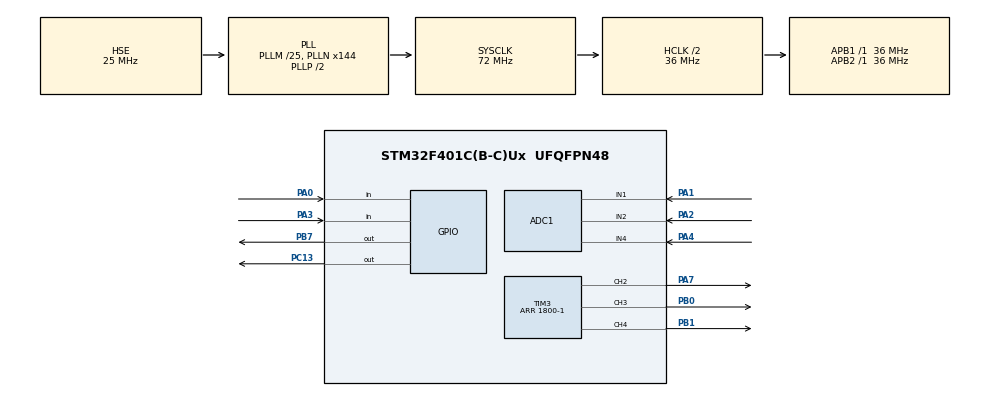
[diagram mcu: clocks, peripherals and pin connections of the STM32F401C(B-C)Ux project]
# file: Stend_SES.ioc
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ADC1.Channel-0\#ChannelRegularConversion=ADC_CHANNEL_1
ADC1.Channel-5\#ChannelInjectedConversion=ADC_CHANNEL_2
ADC1.Channel-6\#ChannelInjectedConversion=ADC_CHANNEL_4
ADC1.ContinuousConvMode=ENABLE
ADC1.DMAContinuousRequests=DISABLE
ADC1.InjNumberOfConversion=2
ADC1.InjectedOffset-5\#ChannelInjectedConversion=0
ADC1.InjectedOffset-6\#ChannelInjectedConversion=0
ADC1.InjectedRank-5\#ChannelInjectedConversion=1
ADC1.InjectedRank-6\#ChannelInjectedConversion=2
ADC1.NbrOfConversion=1
ADC1.NbrOfConversionFlag=1
ADC1.Rank-0\#ChannelRegularConversion=1
ADC1.SamplingTime-0\#ChannelRegularConversion=ADC_SAMPLETIME_112CYCLES
ADC1.SamplingTime-5\#ChannelInjectedConversion=ADC_SAMPLETIME_3CYCLES
ADC1.SamplingTime-6\#ChannelInjectedConversion=ADC_SAMPLETIME_3CYCLES
ADC1.ScanConvMode=ENABLE
ADC1.master=1
Mcu.Family=STM32F4
Mcu.Name=STM32F401C(B-C)Ux
Mcu.Package=UFQFPN48
NVIC.PriorityGroup=NVIC_PRIORITYGROUP_4
NVIC.TIM2_IRQn=true\:0\:0\:false\:false\:true\:true\:true
NVIC.TIM3_IRQn=true\:0\:0\:false\:false\:true\:true\:true
NVIC.TIM4_IRQn=true\:0\:0\:false\:false\:true\:true\:true
PA0-WKUP.GPIO_PuPd=GPIO_PULLUP
PA0-WKUP.Signal=GPIO_Input
PA1.Signal=ADCx_IN1
PA2.Signal=ADCx_IN2
PA3.GPIO_PuPd=GPIO_PULLUP
PA3.Signal=GPIO_Input
PA4.Signal=ADCx_IN4
PA7.Signal=S_TIM3_CH2
PB0.Signal=S_TIM3_CH3
PB1.Signal=S_TIM3_CH4
PB7.GPIO_PuPd=GPIO_PULLDOWN
PB7.Signal=GPIO_Output
PC13-ANTI_TAMP.Signal=GPIO_Output
PH0\ -\ OSC_IN.Mode=HSE-External-Oscillator
PH0\ -\ OSC_IN.Signal=RCC_OSC_IN
PH1\ -\ OSC_OUT.Mode=HSE-External-Oscillator
PH1\ -\ OSC_OUT.Signal=RCC_OSC_OUT
ProjectManager.HeapSize=0x200
ProjectManager.StackSize=0x400
ProjectManager.TargetToolchain=STM32CubeIDE
RCC.48MHZClocksFreq_Value=36000000
RCC.AHBCLKDivider=RCC_SYSCLK_DIV2
RCC.AHBFreq_Value=36000000
RCC.APB1Freq_Value=36000000
RCC.APB1TimFreq_Value=36000000
RCC.APB2Freq_Value=36000000
RCC.APB2TimFreq_Value=36000000
RCC.CortexFreq_Value=36000000
RCC.HCLKFreq_Value=36000000
RCC.HSE_VALUE=25000000
RCC.HSI_VALUE=16000000
RCC.LSE_VALUE=32768
RCC.PLLM=25
RCC.PLLN=144
RCC.PLLSourceVirtual=RCC_PLLSOURCE_HSE
RCC.SYSCLKFreq_VALUE=72000000
RCC.SYSCLKSource=RCC_SYSCLKSOURCE_PLLCLK
RCC.VCOOutputFreq_Value=144000000
SH.ADCx_IN1.0=ADC1_IN1,IN1
SH.ADCx_IN2.0=ADC1_IN2,IN2
SH.ADCx_IN4.0=ADC1_IN4,IN4
SH.S_TIM3_CH2.0=TIM3_CH2,PWM Generation2 CH2
SH.S_TIM3_CH3.0=TIM3_CH3,PWM Generation3 CH3
SH.S_TIM3_CH4.0=TIM3_CH4,PWM Generation4 CH4
TIM2.AutoReloadPreload=TIM_AUTORELOAD_PRELOAD_ENABLE
TIM2.Channel-Output\ Compare1\ No\ Output=TIM_CHANNEL_1
TIM2.Period=60000-1
TIM2.Prescaler=600-1
TIM2.Pulse-Output\ Compare1\ No\ Output=30000
TIM3.AutoReloadPreload=TIM_AUTORELOAD_PRELOAD_ENABLE
TIM3.Channel-PWM\ Generation2\ CH2=TIM_CHANNEL_2
TIM3.Channel-PWM\ Generation3\ CH3=TIM_CHANNEL_3
TIM3.Channel-PWM\ Generation4\ CH4=TIM_CHANNEL_4
TIM3.OCMode_PWM-PWM\ Generation3\ CH3=TIM_OCMODE_PWM2
TIM3.OCMode_PWM-PWM\ Generation4\ CH4=TIM_OCMODE_PWM1
TIM3.Period=1800-1
TIM4.Channel-Output\ Compare1\ No\ Output=TIM_CHANNEL_1
TIM4.Period=60000-1
TIM4.Prescaler=1200-1
VP_TIM2_VS_ClockSourceINT.Mode=Internal
VP_TIM2_VS_no_output1.Mode=Output Compare1 No Output
VP_TIM3_VS_ClockSourceINT.Mode=Internal
VP_TIM4_VS_ClockSourceINT.Mode=Internal
VP_TIM4_VS_no_output1.Mode=Output Compare1 No Output
board=custom

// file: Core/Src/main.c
/* USER CODE BEGIN Header */
/**
  ******************************************************************************
  * @file           : main.c
  * @brief          : Main program body
  ******************************************************************************
  * @attention
  *
  * <h2><center>&copy; Copyright (c) 2021 STMicroelectronics.
  * All rights reserved.</center></h2>
  *
  * This software component is licensed by ST under BSD 3-Clause license,
  * the "License"; You may not use this file except in compliance with the
  * License. You may obtain a copy of the License at:
  *                        opensource.org/licenses/BSD-3-Clause
  *
  ******************************************************************************
  */
/* USER CODE END Header */
#include "main.h"

ADC_HandleTypeDef hadc1;

TIM_HandleTypeDef htim2;
TIM_HandleTypeDef htim3;
TIM_HandleTypeDef htim4;

/* USER CODE BEGIN PV */
#define LENGTH_PERIOD 1800

#define REF 1000 //0.8v
#define K 0.18 //0.18

#define LIMIThigt 1746//(LENGTH_PERIOD * 0.97)//1746 //97%
#define LIMITlow 108//(LENGTH_PERIOD * 0.06)//108 // 6%

#define LIMIThigtdel 180//(LENGTH_PERIOD * 0.1)//50 //10%
#define LIMITlowdel 0 // 0%
#define LENGTH_PERIOD_HALF 900//(LENGTH_PERIOD / 2)

#define LIMITtempheatlow 2000//2000 //55C
#define LIMITtempheathigh 2234//2100
#define LIMITtemphotlow 3100//3500 // 100C
#define LIMITtemphothigh 3230//3600
/* USER CODE END PV */

void SystemClock_Config(void);
static void MX_GPIO_Init(void);
static void MX_ADC1_Init(void);
static void MX_TIM3_Init(void);
static void MX_TIM2_Init(void);
static void MX_TIM4_Init(void);

/* USER CODE BEGIN 0 */

int16_t out_ch1 = 0;
int16_t del = 0;
int16_t out_ch2 = 0;
uint16_t temp = 0;
int16_t adcValue = 0;
volatile HAL_StatusTypeDef adcPoolResult;

uint8_t flag_change = 2;
uint8_t flag_change_50_2phase_mod = 2;
uint8_t flag_thelmal_mod = 0;

uint8_t flag_tick = 0;
uint8_t tick = 0;

const uint16_t freq[] = {30, 300, 120};//5, 1, 2.5 Гц

enum
{
	OFF,
	ON,
	OFF_1_out = 1,
	OFF_2_out,
	ON_2_out,
	ON_1_out,
	HOT = 0,
	mod1,
	mod2
};

void Tick()
{
	flag_tick = 1;
	tick++;
}

//if the jumper J2 is open, the output is HIGH
void Check_mode()
{
	if(HAL_GPIO_ReadPin(GPIOA, GPIO_PIN_3) == GPIO_PIN_SET)
	{
		One_phase_mode();
	}
	else
	{
		Two_phase_mode();
	}
}

void pwmStop()
{
	  HAL_TIM_PWM_Stop(&htim3, TIM_CHANNEL_2);
	  HAL_TIM_PWM_Stop(&htim3, TIM_CHANNEL_3);
	  HAL_TIM_PWM_Stop(&htim3, TIM_CHANNEL_4);
}

void pwmStart()
{
	  HAL_TIM_PWM_Start(&htim3, TIM_CHANNEL_2);
	  HAL_TIM_PWM_Start(&htim3, TIM_CHANNEL_3);
	  HAL_TIM_PWM_Start(&htim3, TIM_CHANNEL_4);
}

void ADC_Vout()
{
	  HAL_ADC_Start(&hadc1);
	  adcPoolResult = HAL_ADC_PollForConversion(&hadc1, 100);
	  if(adcPoolResult == HAL_OK)
		  adcValue = HAL_ADC_GetValue(&hadc1);
	  //out_ch1 /= 2;
	  out_ch1 += (REF - adcValue) * K;
//	  adcValue /= 40;//(/4000*100)
	  out_ch1 > LIMIThigt ? out_ch1 = LIMIThigt : out_ch1;
	  out_ch1 < LIMITlow  ? out_ch1 = LIMITlow : out_ch1;
	  //TIM3->CCR3 = V_out;
	  //TIM3->CCR4 = V_out;
	  HAL_ADC_Stop(&hadc1);
}

void ADC_Shift_phase()
{
	  HAL_ADCEx_InjectedStart(&hadc1);
	  HAL_ADC_PollForConversion(&hadc1, 100);
	  del = HAL_ADCEx_InjectedGetValue(&hadc1, ADC_INJECTED_RANK_1);
	  HAL_ADCEx_InjectedStop(&hadc1);
	  del /= 80;
	  del > LIMIThigtdel ? del = LIMIThigtdel : del;
	  del < LIMITlowdel  ? del = LIMITlowdel : del;
}

void ADC_Temp()
{
	  HAL_ADCEx_InjectedStart(&hadc1);
	  HAL_ADC_PollForConversion(&hadc1, 100);
	  temp = HAL_ADCEx_InjectedGetValue(&hadc1, ADC_INJECTED_RANK_2);
	  HAL_ADCEx_InjectedStop(&hadc1);

	  if(temp < LIMITtempheatlow)
	  {
		  flag_thelmal_mod = 0;
	  }
	  else if(temp > LIMITtempheathigh)
	  {
		  if(temp < LIMITtemphotlow)
		  {
			  flag_thelmal_mod = 1;
		  }
		  else if(temp > LIMITtemphothigh)
		  {
			  flag_thelmal_mod = 2;
		  }
	  }
}

uint8_t Chech_temp()
{
	if(flag_thelmal_mod != 0)
		HAL_GPIO_WritePin(GPIOB, GPIO_PIN_7, GPIO_PIN_SET);
	else
		HAL_GPIO_WritePin(GPIOB, GPIO_PIN_7, GPIO_PIN_RESET);

	if(flag_thelmal_mod != 2)
		return ON;
	else
		return OFF;
}

void Pwm_out(uint8_t enable)
{
	if(enable == OFF_1_out)
	{
		TIM3->CCR2 = OFF;
		TIM3->CCR3 = LENGTH_PERIOD;
		TIM3->CCR4 = OFF;
	}
	else if(enable == OFF_2_out)
	{
		TIM3->CCR2 = OFF;
		TIM3->CCR3 = OFF;
		TIM3->CCR4 = OFF;
	}
	else
	{
		if(enable == ON_2_out)
		{
			if(out_ch1 <= LENGTH_PERIOD_HALF)
			{
				if(flag_change_50_2phase_mod != 1)
				{
					TIM3->CCMR2 &= (~(1<<12));
					TIM3->CCR4 = LENGTH_PERIOD;
					flag_change_50_2phase_mod = 1;
				}
				out_ch2 = out_ch1 + del;
			}
			else
			{
				if(flag_change_50_2phase_mod != 0)
				{
					TIM3->CCMR2 |= (1<<12);
					TIM3->CCR4 = OFF;
					flag_change_50_2phase_mod = 0;
				}
				out_ch2 = out_ch1 - del;
			}
		}
		else//ON_1_out
		{
			out_ch2 = out_ch1 + del;
		}

		out_ch2 > LENGTH_PERIOD ? out_ch2 = LENGTH_PERIOD : out_ch2;
		out_ch2 < OFF  ? out_ch2 = OFF : out_ch2;
		TIM3->CCR4 = out_ch2;
		TIM3->CCR2 = del;
		TIM3->CCR3 = out_ch1;
	}
}

void Blue_led(uint8_t mod)
{
	if(mod == 1)
	{
		TIM2->PSC = freq[mod1];
	}
	else if(mod == 2)
	{
		TIM2->PSC = freq[mod2];
	}
	else
	{
		TIM2->PSC = freq[HOT];
	}
}

void Two_phase_mode()
{
	  if(flag_change != ON)
	  {
		  pwmStop();
		  TIM3->CCMR2 &= (~(1<<4));
		  Pwm_out(OFF_2_out);
		  pwmStart();
		  flag_change = ON;
	  }

	  ADC_Vout();
	  del = LENGTH_PERIOD_HALF;
	  if(tick > 5)
	  {
		  ADC_Temp();
		  tick = 0;
	  }

	  if(Chech_temp() == ON)
	  {
		  Pwm_out(ON_2_out);
		  Blue_led(mod2);
	  }
	  else
	  {
		  Pwm_out(OFF_2_out);
		  Blue_led(HOT);
	  }
}

void One_phase_mode()
{
	  if(flag_change != OFF)
	  {
		  pwmStop();
		  TIM3->CCMR2 |= (1<<4);
		  Pwm_out(OFF_1_out);
		  pwmStart();
		  flag_change = OFF;
	  }

	  ADC_Vout();
	  if(flag_tick == 1)
	  {
		  ADC_Shift_phase();
		  flag_tick = 0;
	  }
	  if(tick > 5)
	  {
		  ADC_Temp();
		  tick = 0;
	  }

	  if(Chech_temp() == ON)
	  {
		  Pwm_out(ON_1_out);
		  Blue_led(mod1);
	  }
	  else
	  {
		  Pwm_out(OFF_1_out);
		  Blue_led(HOT);
	  }
}

/* USER CODE END 0 */

int main(void)
{

  /* MCU Configuration--------------------------------------------------------*/

  /* Reset of all peripherals, Initializes the Flash interface and the Systick. */
  HAL_Init();

  /* Configure the system clock */
  SystemClock_Config();

  /* Initialize all configured peripherals */
  MX_GPIO_Init();
  MX_ADC1_Init();
  MX_TIM3_Init();
  MX_TIM2_Init();
  MX_TIM4_Init();
  /* USER CODE BEGIN 2 */
  HAL_TIM_Base_Start_IT(&htim2);
  HAL_TIM_Base_Start_IT(&htim4);
  HAL_TIM_PWM_Start(&htim3, TIM_CHANNEL_2);
  HAL_TIM_PWM_Start(&htim3, TIM_CHANNEL_3);
  HAL_TIM_PWM_Start(&htim3, TIM_CHANNEL_4);

  HAL_ADC_Start(&hadc1);
  HAL_ADCEx_InjectedStart(&hadc1);

  /* USER CODE END 2 */

  /* Infinite loop */
  /* USER CODE BEGIN WHILE */
  while (1)
  {

	  Check_mode();

    /* USER CODE END WHILE */

  }
}

void SystemClock_Config(void)
{
  RCC_OscInitTypeDef RCC_OscInitStruct = {0};
  RCC_ClkInitTypeDef RCC_ClkInitStruct = {0};

  /** Configure the main internal regulator output voltage
  */
  __HAL_RCC_PWR_CLK_ENABLE();
  __HAL_PWR_VOLTAGESCALING_CONFIG(PWR_REGULATOR_VOLTAGE_SCALE2);
  /** Initializes the RCC Oscillators according to the specified parameters
  * in the RCC_OscInitTypeDef structure.
  */
  RCC_OscInitStruct.OscillatorType = RCC_OSCILLATORTYPE_HSE;
  RCC_OscInitStruct.HSEState = RCC_HSE_ON;
  RCC_OscInitStruct.PLL.PLLState = RCC_PLL_ON;
  RCC_OscInitStruct.PLL.PLLSource = RCC_PLLSOURCE_HSE;
  RCC_OscInitStruct.PLL.PLLM = 25;
  RCC_OscInitStruct.PLL.PLLN = 144;
  RCC_OscInitStruct.PLL.PLLP = RCC_PLLP_DIV2;
  RCC_OscInitStruct.PLL.PLLQ = 4;
  if (HAL_RCC_OscConfig(&RCC_OscInitStruct) != HAL_OK)
  {
    Error_Handler();
  }
  /** Initializes the CPU, AHB and APB buses clocks
  */
  RCC_ClkInitStruct.ClockType = RCC_CLOCKTYPE_HCLK|RCC_CLOCKTYPE_SYSCLK
                              |RCC_CLOCKTYPE_PCLK1|RCC_CLOCKTYPE_PCLK2;
  RCC_ClkInitStruct.SYSCLKSource = RCC_SYSCLKSOURCE_PLLCLK;
  RCC_ClkInitStruct.AHBCLKDivider = RCC_SYSCLK_DIV2;
  RCC_ClkInitStruct.APB1CLKDivider = RCC_HCLK_DIV1;
  RCC_ClkInitStruct.APB2CLKDivider = RCC_HCLK_DIV1;

  if (HAL_RCC_ClockConfig(&RCC_ClkInitStruct, FLASH_LATENCY_1) != HAL_OK)
  {
    Error_Handler();
  }
}

static void MX_ADC1_Init(void)
{

  ADC_ChannelConfTypeDef sConfig = {0};
  ADC_InjectionConfTypeDef sConfigInjected = {0};

  /** Configure the global features of the ADC (Clock, Resolution, Data Alignment and number of conversion)
  */
  hadc1.Instance = ADC1;
  hadc1.Init.ClockPrescaler = ADC_CLOCK_SYNC_PCLK_DIV2;
  hadc1.Init.Resolution = ADC_RESOLUTION_12B;
  hadc1.Init.ScanConvMode = ENABLE;
  hadc1.Init.ContinuousConvMode = ENABLE;
  hadc1.Init.DiscontinuousConvMode = DISABLE;
  hadc1.Init.ExternalTrigConvEdge = ADC_EXTERNALTRIGCONVEDGE_NONE;
  hadc1.Init.ExternalTrigConv = ADC_SOFTWARE_START;
  hadc1.Init.DataAlign = ADC_DATAALIGN_RIGHT;
  hadc1.Init.NbrOfConversion = 1;
  hadc1.Init.DMAContinuousRequests = DISABLE;
  hadc1.Init.EOCSelection = ADC_EOC_SINGLE_CONV;
  if (HAL_ADC_Init(&hadc1) != HAL_OK)
  {
    Error_Handler();
  }
  /** Configure for the selected ADC regular channel its corresponding rank in the sequencer and its sample time.
  */
  sConfig.Channel = ADC_CHANNEL_1;
  sConfig.Rank = 1;
  sConfig.SamplingTime = ADC_SAMPLETIME_112CYCLES;
  if (HAL_ADC_ConfigChannel(&hadc1, &sConfig) != HAL_OK)
  {
    Error_Handler();
  }
  /** Configures for the selected ADC injected channel its corresponding rank in the sequencer and its sample time
  */
  sConfigInjected.InjectedChannel = ADC_CHANNEL_2;
  sConfigInjected.InjectedRank = 1;
  sConfigInjected.InjectedNbrOfConversion = 2;
  sConfigInjected.InjectedSamplingTime = ADC_SAMPLETIME_3CYCLES;
  sConfigInjected.ExternalTrigInjecConvEdge = ADC_EXTERNALTRIGINJECCONVEDGE_NONE;
  sConfigInjected.ExternalTrigInjecConv = ADC_INJECTED_SOFTWARE_START;
  sConfigInjected.AutoInjectedConv = DISABLE;
  sConfigInjected.InjectedDiscontinuousConvMode = DISABLE;
  sConfigInjected.InjectedOffset = 0;
  if (HAL_ADCEx_InjectedConfigChannel(&hadc1, &sConfigInjected) != HAL_OK)
  {
    Error_Handler();
  }
  /** Configures for the selected ADC injected channel its corresponding rank in the sequencer and its sample time
  */
  sConfigInjected.InjectedChannel = ADC_CHANNEL_4;
  sConfigInjected.InjectedRank = 2;
  if (HAL_ADCEx_InjectedConfigChannel(&hadc1, &sConfigInjected) != HAL_OK)
  {
    Error_Handler();
  }

}

static void MX_TIM2_Init(void)
{

  TIM_ClockConfigTypeDef sClockSourceConfig = {0};
  TIM_MasterConfigTypeDef sMasterConfig = {0};
  TIM_OC_InitTypeDef sConfigOC = {0};

  htim2.Instance = TIM2;
  htim2.Init.Prescaler = 600-1;
  htim2.Init.CounterMode = TIM_COUNTERMODE_UP;
  htim2.Init.Period = 60000-1;
  htim2.Init.ClockDivision = TIM_CLOCKDIVISION_DIV1;
  htim2.Init.AutoReloadPreload = TIM_AUTORELOAD_PRELOAD_ENABLE;
  if (HAL_TIM_Base_Init(&htim2) != HAL_OK)
  {
    Error_Handler();
  }
  sClockSourceConfig.ClockSource = TIM_CLOCKSOURCE_INTERNAL;
  if (HAL_TIM_ConfigClockSource(&htim2, &sClockSourceConfig) != HAL_OK)
  {
    Error_Handler();
  }
  if (HAL_TIM_OC_Init(&htim2) != HAL_OK)
  {
    Error_Handler();
  }
  sMasterConfig.MasterOutputTrigger = TIM_TRGO_RESET;
  sMasterConfig.MasterSlaveMode = TIM_MASTERSLAVEMODE_DISABLE;
  if (HAL_TIMEx_MasterConfigSynchronization(&htim2, &sMasterConfig) != HAL_OK)
  {
    Error_Handler();
  }
  sConfigOC.OCMode = TIM_OCMODE_TIMING;
  sConfigOC.Pulse = 30000;
  sConfigOC.OCPolarity = TIM_OCPOLARITY_HIGH;
  sConfigOC.OCFastMode = TIM_OCFAST_DISABLE;
  if (HAL_TIM_OC_ConfigChannel(&htim2, &sConfigOC, TIM_CHANNEL_1) != HAL_OK)
  {
    Error_Handler();
  }

}

static void MX_TIM3_Init(void)
{

  TIM_ClockConfigTypeDef sClockSourceConfig = {0};
  TIM_MasterConfigTypeDef sMasterConfig = {0};
  TIM_OC_InitTypeDef sConfigOC = {0};

  htim3.Instance = TIM3;
  htim3.Init.Prescaler = 0;
  htim3.Init.CounterMode = TIM_COUNTERMODE_UP;
  htim3.Init.Period = 1800-1;
  htim3.Init.ClockDivision = TIM_CLOCKDIVISION_DIV1;
  htim3.Init.AutoReloadPreload = TIM_AUTORELOAD_PRELOAD_ENABLE;
  if (HAL_TIM_Base_Init(&htim3) != HAL_OK)
  {
    Error_Handler();
  }
  sClockSourceConfig.ClockSource = TIM_CLOCKSOURCE_INTERNAL;
  if (HAL_TIM_ConfigClockSource(&htim3, &sClockSourceConfig) != HAL_OK)
  {
    Error_Handler();
  }
  if (HAL_TIM_PWM_Init(&htim3) != HAL_OK)
  {
    Error_Handler();
  }
  sMasterConfig.MasterOutputTrigger = TIM_TRGO_RESET;
  sMasterConfig.MasterSlaveMode = TIM_MASTERSLAVEMODE_DISABLE;
  if (HAL_TIMEx_MasterConfigSynchronization(&htim3, &sMasterConfig) != HAL_OK)
  {
    Error_Handler();
  }
  sConfigOC.OCMode = TIM_OCMODE_PWM1;
  sConfigOC.Pulse = 0;
  sConfigOC.OCPolarity = TIM_OCPOLARITY_HIGH;
  sConfigOC.OCFastMode = TIM_OCFAST_DISABLE;
  if (HAL_TIM_PWM_ConfigChannel(&htim3, &sConfigOC, TIM_CHANNEL_2) != HAL_OK)
  {
    Error_Handler();
  }
  sConfigOC.OCMode = TIM_OCMODE_PWM2;
  if (HAL_TIM_PWM_ConfigChannel(&htim3, &sConfigOC, TIM_CHANNEL_3) != HAL_OK)
  {
    Error_Handler();
  }
  sConfigOC.OCMode = TIM_OCMODE_PWM1;
  if (HAL_TIM_PWM_ConfigChannel(&htim3, &sConfigOC, TIM_CHANNEL_4) != HAL_OK)
  {
    Error_Handler();
  }
  HAL_TIM_MspPostInit(&htim3);

}

static void MX_TIM4_Init(void)
{

  TIM_ClockConfigTypeDef sClockSourceConfig = {0};
  TIM_MasterConfigTypeDef sMasterConfig = {0};
  TIM_OC_InitTypeDef sConfigOC = {0};

  htim4.Instance = TIM4;
  htim4.Init.Prescaler = 1200-1;
  htim4.Init.CounterMode = TIM_COUNTERMODE_UP;
  htim4.Init.Period = 60000-1;
  htim4.Init.ClockDivision = TIM_CLOCKDIVISION_DIV1;
  htim4.Init.AutoReloadPreload = TIM_AUTORELOAD_PRELOAD_DISABLE;
  if (HAL_TIM_Base_Init(&htim4) != HAL_OK)
  {
    Error_Handler();
  }
  sClockSourceConfig.ClockSource = TIM_CLOCKSOURCE_INTERNAL;
  if (HAL_TIM_ConfigClockSource(&htim4, &sClockSourceConfig) != HAL_OK)
  {
    Error_Handler();
  }
  if (HAL_TIM_OC_Init(&htim4) != HAL_OK)
  {
    Error_Handler();
  }
  sMasterConfig.MasterOutputTrigger = TIM_TRGO_RESET;
  sMasterConfig.MasterSlaveMode = TIM_MASTERSLAVEMODE_DISABLE;
  if (HAL_TIMEx_MasterConfigSynchronization(&htim4, &sMasterConfig) != HAL_OK)
  {
    Error_Handler();
  }
  sConfigOC.OCMode = TIM_OCMODE_TIMING;
  sConfigOC.Pulse = 0;
  sConfigOC.OCPolarity = TIM_OCPOLARITY_HIGH;
  sConfigOC.OCFastMode = TIM_OCFAST_DISABLE;
  if (HAL_TIM_OC_ConfigChannel(&htim4, &sConfigOC, TIM_CHANNEL_1) != HAL_OK)
  {
    Error_Handler();
  }

}

static void MX_GPIO_Init(void)
{
  GPIO_InitTypeDef GPIO_InitStruct = {0};

  /* GPIO Ports Clock Enable */
  __HAL_RCC_GPIOC_CLK_ENABLE();
  __HAL_RCC_GPIOH_CLK_ENABLE();
  __HAL_RCC_GPIOA_CLK_ENABLE();
  __HAL_RCC_GPIOB_CLK_ENABLE();

  /*Configure GPIO pin Output Level */
  HAL_GPIO_WritePin(GPIOC, GPIO_PIN_13, GPIO_PIN_RESET);

  /*Configure GPIO pin Output Level */
  HAL_GPIO_WritePin(GPIOB, GPIO_PIN_7, GPIO_PIN_RESET);

  /*Configure GPIO pin : PC13 */
  GPIO_InitStruct.Pin = GPIO_PIN_13;
  GPIO_InitStruct.Mode = GPIO_MODE_OUTPUT_PP;
  GPIO_InitStruct.Pull = GPIO_NOPULL;
  GPIO_InitStruct.Speed = GPIO_SPEED_FREQ_LOW;
  HAL_GPIO_Init(GPIOC, &GPIO_InitStruct);

  /*Configure GPIO pins : PA0 PA3 */
  GPIO_InitStruct.Pin = GPIO_PIN_0|GPIO_PIN_3;
  GPIO_InitStruct.Mode = GPIO_MODE_INPUT;
  GPIO_InitStruct.Pull = GPIO_PULLUP;
  HAL_GPIO_Init(GPIOA, &GPIO_InitStruct);

  /*Configure GPIO pin : PB7 */
  GPIO_InitStruct.Pin = GPIO_PIN_7;
  GPIO_InitStruct.Mode = GPIO_MODE_OUTPUT_PP;
  GPIO_InitStruct.Pull = GPIO_PULLDOWN;
  GPIO_InitStruct.Speed = GPIO_SPEED_FREQ_LOW;
  HAL_GPIO_Init(GPIOB, &GPIO_InitStruct);

}

void Error_Handler(void)
{
  __disable_irq();
  while (1)
  {
  }
}

/************************ (C) COPYRIGHT STMicroelectronics *****END OF FILE****/
